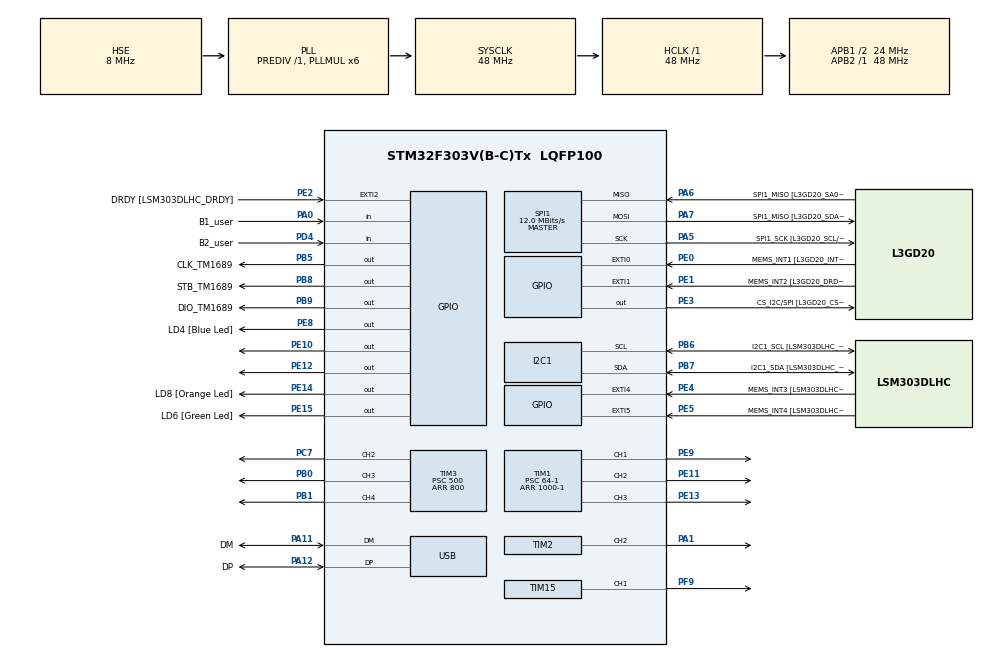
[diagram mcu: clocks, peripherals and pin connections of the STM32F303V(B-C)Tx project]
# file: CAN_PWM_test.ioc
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I2C1.Timing-I2C=0x2000090E
Mcu.Family=STM32F3
Mcu.Name=STM32F303V(B-C)Tx
Mcu.Package=LQFP100
NVIC.PriorityGroup=NVIC_PRIORITYGROUP_0
NVIC.TIM1_CC_IRQn=true\:0\:0\:false\:false\:true\:true\:true\:true
NVIC.TIM1_UP_TIM16_IRQn=true\:0\:0\:false\:false\:true\:true\:true\:true
NVIC.TIM2_IRQn=true\:0\:0\:false\:false\:true\:true\:true\:true
NVIC.TIM7_IRQn=true\:0\:0\:false\:false\:true\:true\:true\:true
PA0.GPIO_Label=B1_user
PA0.GPIO_PuPd=GPIO_PULLDOWN
PA0.Signal=GPIO_Input
PA1.Signal=S_TIM2_CH2
PA11.GPIO_Label=DM
PA11.Mode=Device
PA11.Signal=USB_DM
PA12.GPIO_Label=DP
PA12.Mode=Device
PA12.Signal=USB_DP
PA13.GPIO_Label=SWDIO
PA13.Mode=Serial_Wire
PA13.Signal=SYS_JTMS-SWDIO
PA14.GPIO_Label=SWCLK
PA14.Mode=Serial_Wire
PA14.Signal=SYS_JTCK-SWCLK
PA5.GPIO_Label=SPI1_SCK [L3GD20_SCL/SPC]
PA5.Mode=Full_Duplex_Master
PA5.Signal=SPI1_SCK
PA6.GPIO_Label=SPI1_MISO [L3GD20_SA0/SDO]
PA6.Mode=Full_Duplex_Master
PA6.Signal=SPI1_MISO
PA7.GPIO_Label=SPI1_MISO [L3GD20_SDA/SDI/SDO]
PA7.Mode=Full_Duplex_Master
PA7.Signal=SPI1_MOSI
PB0.Signal=S_TIM3_CH3
PB1.Signal=S_TIM3_CH4
PB3.GPIO_Label=SWO
PB3.Signal=SYS_JTDO-TRACESWO
PB5.GPIO_Label=CLK_TM1689
PB5.Signal=GPIO_Output
PB6.GPIO_Label=I2C1_SCL [LSM303DLHC_SCL]
PB6.GPIO_Pu=GPIO_PULLUP
PB6.Mode=I2C
PB6.Signal=I2C1_SCL
PB7.GPIO_Label=I2C1_SDA [LSM303DLHC_SDA]
PB7.GPIO_Pu=GPIO_PULLUP
PB7.Mode=I2C
PB7.Signal=I2C1_SDA
PB8.GPIO_Label=STB_TM1689
PB8.GPIO_PuPd=GPIO_NOPULL
PB8.Signal=GPIO_Output
PB9.GPIO_Label=DIO_TM1689
PB9.Signal=GPIO_Output
PC14-OSC32_IN.GPIO_Label=OSC32_IN
PC14-OSC32_IN.Signal=RCC_OSC32_IN
PC15-OSC32_OUT.GPIO_Label=OSC32_OUT
PC15-OSC32_OUT.Signal=RCC_OSC32_OUT
PC7.Signal=S_TIM3_CH2
PD4.GPIO_Label=B2_user
PD4.GPIO_PuPd=GPIO_PULLDOWN
PD4.Signal=GPIO_Input
PE0.GPIO_Label=MEMS_INT1 [L3GD20_INT1]
PE0.GPIO_ModeDefaultEXTI=GPIO_MODE_EVT_RISING
PE0.Signal=GPXTI0
PE1.GPIO_Label=MEMS_INT2 [L3GD20_DRDY/INT2]
PE1.GPIO_ModeDefaultEXTI=GPIO_MODE_EVT_RISING
PE1.Signal=GPXTI1
PE10.Signal=GPIO_Output
PE11.Signal=S_TIM1_CH2
PE12.Signal=GPIO_Output
PE13.Signal=S_TIM1_CH3
PE14.GPIO_Label=LD8 [Orange Led]
PE14.Signal=GPIO_Output
PE15.GPIO_Label=LD6 [Green Led]
PE15.Signal=GPIO_Output
PE2.GPIO_Label=DRDY [LSM303DLHC_DRDY]
PE2.GPIO_ModeDefaultEXTI=GPIO_MODE_EVT_RISING
PE2.Signal=GPXTI2
PE3.GPIO_Label=CS_I2C/SPI [L3GD20_CS_I2C/SPI]
PE3.Signal=GPIO_Output
PE4.GPIO_Label=MEMS_INT3 [LSM303DLHC_INT1]
PE4.GPIO_ModeDefaultEXTI=GPIO_MODE_EVT_RISING
PE4.Signal=GPXTI4
PE5.GPIO_Label=MEMS_INT4 [LSM303DLHC_INT2]
PE5.GPIO_ModeDefaultEXTI=GPIO_MODE_EVT_RISING
PE5.Signal=GPXTI5
PE8.GPIO_Label=LD4 [Blue Led]
PE8.Signal=GPIO_Output
PE9.Signal=S_TIM1_CH1
PF0-OSC_IN.GPIO_Label=OSC_IN
PF0-OSC_IN.Mode=HSE-External-Clock-Source
PF0-OSC_IN.Signal=RCC_OSC_IN
PF1-OSC_OUT.GPIO_Label=OSC_OUT
PF1-OSC_OUT.Signal=RCC_OSC_OUT
PF9.Signal=S_TIM15_CH1
ProjectManager.HeapSize=0x200
ProjectManager.StackSize=0x400
ProjectManager.TargetToolchain=Makefile
RCC.AHBFreq_Value=48000000
RCC.APB1CLKDivider=RCC_HCLK_DIV2
RCC.APB1Freq_Value=24000000
RCC.APB1TimFreq_Value=48000000
RCC.APB2Freq_Value=48000000
RCC.APB2TimFreq_Value=48000000
RCC.CortexFreq_Value=48000000
RCC.HCLKFreq_Value=48000000
RCC.HSE_VALUE=8000000
RCC.HSI_VALUE=8000000
RCC.LSE_VALUE=32768
RCC.PLLMUL=RCC_PLL_MUL6
RCC.SYSCLKFreq_VALUE=48000000
RCC.SYSCLKSourceVirtual=RCC_SYSCLKSOURCE_PLLCLK
RCC.USBFreq_Value=48000000
SH.S_TIM15_CH1.0=TIM15_CH1,PWM Generation1 CH1
SH.S_TIM1_CH1.0=TIM1_CH1,PWM Generation1 CH1
SH.S_TIM1_CH2.0=TIM1_CH2,PWM Generation2 CH2
SH.S_TIM1_CH3.0=TIM1_CH3,PWM Generation3 CH3
SH.S_TIM2_CH2.0=TIM2_CH2,PWM Generation2 CH2
SH.S_TIM3_CH2.0=TIM3_CH2,PWM Generation2 CH2
SH.S_TIM3_CH3.0=TIM3_CH3,PWM Generation3 CH3
SH.S_TIM3_CH4.0=TIM3_CH4,PWM Generation4 CH4
SPI1.BaudRatePrescaler=SPI_BAUDRATEPRESCALER_4
SPI1.BaudRatePrescaler-Full_Duplex_Master=SPI_BAUDRATEPRESCALER_2
SPI1.CalculateBaudRate=12.0 MBits/s
SPI1.CalculateBaudRate-Full_Duplex_Master=24.0 MBits/s
SPI1.Direction=SPI_DIRECTION_2LINES
SPI1.Mode=SPI_MODE_MASTER
SPI1.Mode-Full_Duplex_Master=SPI_MODE_MASTER
SPI1.VirtualType=VM_MASTER
TIM1.Channel-PWM\ Generation1\ CH1=TIM_CHANNEL_1
TIM1.Channel-PWM\ Generation2\ CH2=TIM_CHANNEL_2
TIM1.Channel-PWM\ Generation3\ CH3=TIM_CHANNEL_3
TIM1.OCPolarity_3=TIM_OCPOLARITY_LOW
TIM1.Period=1000-1
TIM1.Prescaler=64-1
TIM1.Pulse-PWM\ Generation1\ CH1=50
TIM1.Pulse-PWM\ Generation2\ CH2=50
TIM15.Channel-PWM\ Generation1\ CH1=TIM_CHANNEL_1
TIM17.Period=500-1
TIM17.Prescaler=384-1
TIM2.Channel-PWM\ Generation2\ CH2=TIM_CHANNEL_2
TIM2.Period=1000
TIM2.Prescaler=4
TIM3.Channel-PWM\ Generation2\ CH2=TIM_CHANNEL_2
TIM3.Channel-PWM\ Generation3\ CH3=TIM_CHANNEL_3
TIM3.Channel-PWM\ Generation4\ CH4=TIM_CHANNEL_4
TIM3.Period=800
TIM3.Prescaler=500
TIM7.Period=100
TIM7.Prescaler=4
VP_TIM16_VS_ClockSourceINT.Mode=Enable_Timer
VP_TIM17_VS_ClockSourceINT.Mode=Enable_Timer
VP_TIM1_VS_ClockSourceINT.Mode=Internal
VP_TIM2_VS_ClockSourceINT.Mode=Internal
VP_TIM3_VS_ClockSourceINT.Mode=Internal
VP_TIM7_VS_ClockSourceINT.Mode=Enable_Timer
VP_TIM8_VS_ClockSourceINT.Mode=Internal
board=STM32F3DISCOVERY

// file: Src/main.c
/* USER CODE BEGIN Header */
/**
  ******************************************************************************
  * @file           : main.c
  * @brief          : Main program body
  ******************************************************************************
  * @attention
  *
  * Copyright (c) 2023 STMicroelectronics.
  * All rights reserved.
  *
  * This software is licensed under terms that can be found in the LICENSE file
  * in the root directory of this software component.
  * If no LICENSE file comes with this software, it is provided AS-IS.
  *
  ******************************************************************************
  */
/* USER CODE END Header */
#include "main.h"

/* USER CODE BEGIN Includes */
// #include "TM1638.h"

/* USER CODE END Includes */

/* USER CODE BEGIN PTD */
const uint8_t PWM_MIN = 4;
const uint8_t PWM_MAX = 100;
const uint8_t PWM_MIN_CHANGE = 5;
/* USER CODE END PTD */

/* USER CODE BEGIN PD */
uint8_t timePulse = 50;
uint8_t timePulseMax = 100;
uint8_t timePulseMin = 1;
uint8_t timePulseDivider = PWM_MIN;
uint8_t timePulse2 = 50;

eDir tPulse = UP;
eDir tDivide = UP;

// enum{
//   UP=0,
//   DOWN
// }eDir;

// enum{
//     uP=0,
//     dOWN
// }eDivider;
/* USER CODE END PD */

I2C_HandleTypeDef hi2c1;

SPI_HandleTypeDef hspi1;

TIM_HandleTypeDef htim1;
TIM_HandleTypeDef htim2;
TIM_HandleTypeDef htim3;
TIM_HandleTypeDef htim7;
TIM_HandleTypeDef htim8;
TIM_HandleTypeDef htim15;
TIM_HandleTypeDef htim16;
TIM_HandleTypeDef htim17;

PCD_HandleTypeDef hpcd_USB_FS;

void SystemClock_Config(void);
static void MX_GPIO_Init(void);
static void MX_I2C1_Init(void);
static void MX_SPI1_Init(void);
static void MX_TIM2_Init(void);
static void MX_TIM3_Init(void);
static void MX_TIM8_Init(void);
static void MX_TIM15_Init(void);
static void MX_TIM16_Init(void);
static void MX_TIM17_Init(void);
static void MX_USB_PCD_Init(void);
static void MX_TIM1_Init(void);
static void MX_TIM7_Init(void);

int main(void)
{

  /* MCU Configuration--------------------------------------------------------*/

  /* Reset of all peripherals, Initializes the Flash interface and the Systick. */
  HAL_Init();

  /* Configure the system clock */
  SystemClock_Config();

  /* Initialize all configured peripherals */
  MX_GPIO_Init();
  MX_I2C1_Init();
  MX_SPI1_Init();
  MX_TIM2_Init();
  MX_TIM3_Init();
  MX_TIM8_Init();
  MX_TIM15_Init();
  MX_TIM16_Init();
  MX_TIM17_Init();
  MX_USB_PCD_Init();
  MX_TIM1_Init();
  MX_TIM7_Init();
  /* USER CODE BEGIN 2 */

  timePulse = 50;
  timePulseMax = htim1.Init.Period;
  timePulseMin = 1;
  timePulseDivider = timePulseMax/2;
  timePulse2 = 50;

  HAL_TIM_Base_Start_IT(&htim1);
  // HAL_TIM_Base_Start_IT(&htim7);
  // HAL_TIM_PWM_Start(&htim2, TIM_CHANNEL_2);

  HAL_TIM_PWM_Start(&htim1, TIM_CHANNEL_1);
  HAL_TIM_PWM_Start(&htim1, TIM_CHANNEL_2);
  HAL_TIM_PWM_Start(&htim1, TIM_CHANNEL_3);

// BEGIN TM1638

  // TM1638 tm1638(DIO_TM1689_Pin, CLK_TM1689_Pin, STB_TM1689_Pin);

  HAL_TIM_Base_Start_IT(&htim17);
  // TIM17->CCR1 = (htim17.Init.Period * timePulse2) / 100u;
  HAL_TIM_PWM_Start(&htim17, TIM_CHANNEL_1);
// END TM1638

  /* USER CODE END 2 */

  /* Infinite loop */
  /* USER CODE BEGIN WHILE */
  while (1)
  {

    if( HAL_GPIO_ReadPin(B1_user_GPIO_Port, B1_user_Pin) )
    {

        HAL_GPIO_WritePin( GPIOE, GPIO_PIN_10, GPIO_PIN_SET );

        if( tPulse == UP )
        {
            if( timePulse >= PWM_MAX )
                tPulse = DOWN;
            else
                timePulse += PWM_MIN_CHANGE;
        } else {
            if ( timePulse <= PWM_MIN )
                tPulse = UP;
            else
                timePulse -= PWM_MIN_CHANGE;
        }
    } else if( ! HAL_GPIO_ReadPin(B1_user_GPIO_Port, B1_user_Pin) ){
        HAL_GPIO_WritePin( GPIOE, GPIO_PIN_10, GPIO_PIN_RESET );
    }

    if( HAL_GPIO_ReadPin(B2_user_GPIO_Port, B2_user_Pin) )
    {
        HAL_GPIO_WritePin( GPIOE, LD8_Pin, GPIO_PIN_SET );

        if( tDivide == UP )
        {
            if( timePulseDivider >= timePulseMax )
                tDivide = DOWN;
            else
                timePulseDivider += PWM_MIN_CHANGE;
        } else {
            if ( timePulse <= timePulseMin )
                tDivide = UP;
            else
                timePulseDivider -= PWM_MIN_CHANGE;
        }

    } else if( ! HAL_GPIO_ReadPin(B2_user_GPIO_Port, B2_user_Pin) ){

        HAL_GPIO_WritePin( GPIOE, GPIO_PIN_14, GPIO_PIN_RESET );
    }

    /* USER CODE END WHILE */

    /* USER CODE BEGIN 3 */
    // HAL_GPIO_TogglePin (GPIOE, GPIO_PIN_8);
    HAL_Delay (300);
    HAL_GPIO_TogglePin (GPIOE, GPIO_PIN_15);
 }
  /* USER CODE END 3 */
}

void SystemClock_Config(void)
{
  RCC_OscInitTypeDef RCC_OscInitStruct = {0};
  RCC_ClkInitTypeDef RCC_ClkInitStruct = {0};
  RCC_PeriphCLKInitTypeDef PeriphClkInit = {0};

  /** Initializes the RCC Oscillators according to the specified parameters
  * in the RCC_OscInitTypeDef structure.
  */
  RCC_OscInitStruct.OscillatorType = RCC_OSCILLATORTYPE_HSI|RCC_OSCILLATORTYPE_HSE;
  RCC_OscInitStruct.HSEState = RCC_HSE_BYPASS;
  RCC_OscInitStruct.HSEPredivValue = RCC_HSE_PREDIV_DIV1;
  RCC_OscInitStruct.HSIState = RCC_HSI_ON;
  RCC_OscInitStruct.HSICalibrationValue = RCC_HSICALIBRATION_DEFAULT;
  RCC_OscInitStruct.PLL.PLLState = RCC_PLL_ON;
  RCC_OscInitStruct.PLL.PLLSource = RCC_PLLSOURCE_HSE;
  RCC_OscInitStruct.PLL.PLLMUL = RCC_PLL_MUL6;
  if (HAL_RCC_OscConfig(&RCC_OscInitStruct) != HAL_OK)
  {
    Error_Handler();
  }

  /** Initializes the CPU, AHB and APB buses clocks
  */
  RCC_ClkInitStruct.ClockType = RCC_CLOCKTYPE_HCLK|RCC_CLOCKTYPE_SYSCLK
                              |RCC_CLOCKTYPE_PCLK1|RCC_CLOCKTYPE_PCLK2;
  RCC_ClkInitStruct.SYSCLKSource = RCC_SYSCLKSOURCE_PLLCLK;
  RCC_ClkInitStruct.AHBCLKDivider = RCC_SYSCLK_DIV1;
  RCC_ClkInitStruct.APB1CLKDivider = RCC_HCLK_DIV2;
  RCC_ClkInitStruct.APB2CLKDivider = RCC_HCLK_DIV1;

  if (HAL_RCC_ClockConfig(&RCC_ClkInitStruct, FLASH_LATENCY_1) != HAL_OK)
  {
    Error_Handler();
  }
  PeriphClkInit.PeriphClockSelection = RCC_PERIPHCLK_USB|RCC_PERIPHCLK_I2C1
                              |RCC_PERIPHCLK_TIM1|RCC_PERIPHCLK_TIM8;
  PeriphClkInit.I2c1ClockSelection = RCC_I2C1CLKSOURCE_HSI;
  PeriphClkInit.USBClockSelection = RCC_USBCLKSOURCE_PLL;
  PeriphClkInit.Tim1ClockSelection = RCC_TIM1CLK_HCLK;
  PeriphClkInit.Tim8ClockSelection = RCC_TIM8CLK_HCLK;
  if (HAL_RCCEx_PeriphCLKConfig(&PeriphClkInit) != HAL_OK)
  {
    Error_Handler();
  }
}

static void MX_I2C1_Init(void)
{

  hi2c1.Instance = I2C1;
  hi2c1.Init.Timing = 0x2000090E;
  hi2c1.Init.OwnAddress1 = 0;
  hi2c1.Init.AddressingMode = I2C_ADDRESSINGMODE_7BIT;
  hi2c1.Init.DualAddressMode = I2C_DUALADDRESS_DISABLE;
  hi2c1.Init.OwnAddress2 = 0;
  hi2c1.Init.OwnAddress2Masks = I2C_OA2_NOMASK;
  hi2c1.Init.GeneralCallMode = I2C_GENERALCALL_DISABLE;
  hi2c1.Init.NoStretchMode = I2C_NOSTRETCH_DISABLE;
  if (HAL_I2C_Init(&hi2c1) != HAL_OK)
  {
    Error_Handler();
  }

  /** Configure Analogue filter
  */
  if (HAL_I2CEx_ConfigAnalogFilter(&hi2c1, I2C_ANALOGFILTER_ENABLE) != HAL_OK)
  {
    Error_Handler();
  }

  /** Configure Digital filter
  */
  if (HAL_I2CEx_ConfigDigitalFilter(&hi2c1, 0) != HAL_OK)
  {
    Error_Handler();
  }

}

static void MX_SPI1_Init(void)
{

  /* SPI1 parameter configuration*/
  hspi1.Instance = SPI1;
  hspi1.Init.Mode = SPI_MODE_MASTER;
  hspi1.Init.Direction = SPI_DIRECTION_2LINES;
  hspi1.Init.DataSize = SPI_DATASIZE_4BIT;
  hspi1.Init.CLKPolarity = SPI_POLARITY_LOW;
  hspi1.Init.CLKPhase = SPI_PHASE_1EDGE;
  hspi1.Init.NSS = SPI_NSS_SOFT;
  hspi1.Init.BaudRatePrescaler = SPI_BAUDRATEPRESCALER_4;
  hspi1.Init.FirstBit = SPI_FIRSTBIT_MSB;
  hspi1.Init.TIMode = SPI_TIMODE_DISABLE;
  hspi1.Init.CRCCalculation = SPI_CRCCALCULATION_DISABLE;
  hspi1.Init.CRCPolynomial = 7;
  hspi1.Init.CRCLength = SPI_CRC_LENGTH_DATASIZE;
  hspi1.Init.NSSPMode = SPI_NSS_PULSE_ENABLE;
  if (HAL_SPI_Init(&hspi1) != HAL_OK)
  {
    Error_Handler();
  }

}

static void MX_TIM1_Init(void)
{

  TIM_ClockConfigTypeDef sClockSourceConfig = {0};
  TIM_MasterConfigTypeDef sMasterConfig = {0};
  TIM_OC_InitTypeDef sConfigOC = {0};
  TIM_BreakDeadTimeConfigTypeDef sBreakDeadTimeConfig = {0};

  htim1.Instance = TIM1;
  htim1.Init.Prescaler = 64-1;
  htim1.Init.CounterMode = TIM_COUNTERMODE_UP;
  htim1.Init.Period = 1000-1;
  htim1.Init.ClockDivision = TIM_CLOCKDIVISION_DIV1;
  htim1.Init.RepetitionCounter = 0;
  htim1.Init.AutoReloadPreload = TIM_AUTORELOAD_PRELOAD_DISABLE;
  if (HAL_TIM_Base_Init(&htim1) != HAL_OK)
  {
    Error_Handler();
  }
  sClockSourceConfig.ClockSource = TIM_CLOCKSOURCE_INTERNAL;
  if (HAL_TIM_ConfigClockSource(&htim1, &sClockSourceConfig) != HAL_OK)
  {
    Error_Handler();
  }
  if (HAL_TIM_PWM_Init(&htim1) != HAL_OK)
  {
    Error_Handler();
  }
  sMasterConfig.MasterOutputTrigger = TIM_TRGO_RESET;
  sMasterConfig.MasterOutputTrigger2 = TIM_TRGO2_RESET;
  sMasterConfig.MasterSlaveMode = TIM_MASTERSLAVEMODE_DISABLE;
  if (HAL_TIMEx_MasterConfigSynchronization(&htim1, &sMasterConfig) != HAL_OK)
  {
    Error_Handler();
  }
  sConfigOC.OCMode = TIM_OCMODE_PWM1;
  sConfigOC.Pulse = 50;
  sConfigOC.OCPolarity = TIM_OCPOLARITY_HIGH;
  sConfigOC.OCNPolarity = TIM_OCNPOLARITY_HIGH;
  sConfigOC.OCFastMode = TIM_OCFAST_DISABLE;
  sConfigOC.OCIdleState = TIM_OCIDLESTATE_RESET;
  sConfigOC.OCNIdleState = TIM_OCNIDLESTATE_RESET;
  if (HAL_TIM_PWM_ConfigChannel(&htim1, &sConfigOC, TIM_CHANNEL_1) != HAL_OK)
  {
    Error_Handler();
  }
  if (HAL_TIM_PWM_ConfigChannel(&htim1, &sConfigOC, TIM_CHANNEL_2) != HAL_OK)
  {
    Error_Handler();
  }
  sConfigOC.Pulse = 0;
  sConfigOC.OCPolarity = TIM_OCPOLARITY_LOW;
  if (HAL_TIM_PWM_ConfigChannel(&htim1, &sConfigOC, TIM_CHANNEL_3) != HAL_OK)
  {
    Error_Handler();
  }
  sBreakDeadTimeConfig.OffStateRunMode = TIM_OSSR_DISABLE;
  sBreakDeadTimeConfig.OffStateIDLEMode = TIM_OSSI_DISABLE;
  sBreakDeadTimeConfig.LockLevel = TIM_LOCKLEVEL_OFF;
  sBreakDeadTimeConfig.DeadTime = 0;
  sBreakDeadTimeConfig.BreakState = TIM_BREAK_DISABLE;
  sBreakDeadTimeConfig.BreakPolarity = TIM_BREAKPOLARITY_HIGH;
  sBreakDeadTimeConfig.BreakFilter = 0;
  sBreakDeadTimeConfig.Break2State = TIM_BREAK2_DISABLE;
  sBreakDeadTimeConfig.Break2Polarity = TIM_BREAK2POLARITY_HIGH;
  sBreakDeadTimeConfig.Break2Filter = 0;
  sBreakDeadTimeConfig.AutomaticOutput = TIM_AUTOMATICOUTPUT_DISABLE;
  if (HAL_TIMEx_ConfigBreakDeadTime(&htim1, &sBreakDeadTimeConfig) != HAL_OK)
  {
    Error_Handler();
  }
  HAL_TIM_MspPostInit(&htim1);

}

static void MX_TIM2_Init(void)
{

  TIM_ClockConfigTypeDef sClockSourceConfig = {0};
  TIM_MasterConfigTypeDef sMasterConfig = {0};
  TIM_OC_InitTypeDef sConfigOC = {0};

  htim2.Instance = TIM2;
  htim2.Init.Prescaler = 4;
  htim2.Init.CounterMode = TIM_COUNTERMODE_UP;
  htim2.Init.Period = 1000;
  htim2.Init.ClockDivision = TIM_CLOCKDIVISION_DIV1;
  htim2.Init.AutoReloadPreload = TIM_AUTORELOAD_PRELOAD_DISABLE;
  if (HAL_TIM_Base_Init(&htim2) != HAL_OK)
  {
    Error_Handler();
  }
  sClockSourceConfig.ClockSource = TIM_CLOCKSOURCE_INTERNAL;
  if (HAL_TIM_ConfigClockSource(&htim2, &sClockSourceConfig) != HAL_OK)
  {
    Error_Handler();
  }
  if (HAL_TIM_PWM_Init(&htim2) != HAL_OK)
  {
    Error_Handler();
  }
  sMasterConfig.MasterOutputTrigger = TIM_TRGO_RESET;
  sMasterConfig.MasterSlaveMode = TIM_MASTERSLAVEMODE_DISABLE;
  if (HAL_TIMEx_MasterConfigSynchronization(&htim2, &sMasterConfig) != HAL_OK)
  {
    Error_Handler();
  }
  sConfigOC.OCMode = TIM_OCMODE_PWM1;
  sConfigOC.Pulse = 0;
  sConfigOC.OCPolarity = TIM_OCPOLARITY_HIGH;
  sConfigOC.OCFastMode = TIM_OCFAST_DISABLE;
  if (HAL_TIM_PWM_ConfigChannel(&htim2, &sConfigOC, TIM_CHANNEL_2) != HAL_OK)
  {
    Error_Handler();
  }
  HAL_TIM_MspPostInit(&htim2);

}

static void MX_TIM3_Init(void)
{

  TIM_ClockConfigTypeDef sClockSourceConfig = {0};
  TIM_MasterConfigTypeDef sMasterConfig = {0};
  TIM_OC_InitTypeDef sConfigOC = {0};

  htim3.Instance = TIM3;
  htim3.Init.Prescaler = 500;
  htim3.Init.CounterMode = TIM_COUNTERMODE_UP;
  htim3.Init.Period = 800;
  htim3.Init.ClockDivision = TIM_CLOCKDIVISION_DIV1;
  htim3.Init.AutoReloadPreload = TIM_AUTORELOAD_PRELOAD_DISABLE;
  if (HAL_TIM_Base_Init(&htim3) != HAL_OK)
  {
    Error_Handler();
  }
  sClockSourceConfig.ClockSource = TIM_CLOCKSOURCE_INTERNAL;
  if (HAL_TIM_ConfigClockSource(&htim3, &sClockSourceConfig) != HAL_OK)
  {
    Error_Handler();
  }
  if (HAL_TIM_PWM_Init(&htim3) != HAL_OK)
  {
    Error_Handler();
  }
  sMasterConfig.MasterOutputTrigger = TIM_TRGO_RESET;
  sMasterConfig.MasterSlaveMode = TIM_MASTERSLAVEMODE_DISABLE;
  if (HAL_TIMEx_MasterConfigSynchronization(&htim3, &sMasterConfig) != HAL_OK)
  {
    Error_Handler();
  }
  sConfigOC.OCMode = TIM_OCMODE_PWM1;
  sConfigOC.Pulse = 0;
  sConfigOC.OCPolarity = TIM_OCPOLARITY_HIGH;
  sConfigOC.OCFastMode = TIM_OCFAST_DISABLE;
  if (HAL_TIM_PWM_ConfigChannel(&htim3, &sConfigOC, TIM_CHANNEL_2) != HAL_OK)
  {
    Error_Handler();
  }
  if (HAL_TIM_PWM_ConfigChannel(&htim3, &sConfigOC, TIM_CHANNEL_3) != HAL_OK)
  {
    Error_Handler();
  }
  if (HAL_TIM_PWM_ConfigChannel(&htim3, &sConfigOC, TIM_CHANNEL_4) != HAL_OK)
  {
    Error_Handler();
  }
  HAL_TIM_MspPostInit(&htim3);

}

static void MX_TIM7_Init(void)
{

  TIM_MasterConfigTypeDef sMasterConfig = {0};

  htim7.Instance = TIM7;
  htim7.Init.Prescaler = 4;
  htim7.Init.CounterMode = TIM_COUNTERMODE_UP;
  htim7.Init.Period = 100;
  htim7.Init.AutoReloadPreload = TIM_AUTORELOAD_PRELOAD_DISABLE;
  if (HAL_TIM_Base_Init(&htim7) != HAL_OK)
  {
    Error_Handler();
  }
  sMasterConfig.MasterOutputTrigger = TIM_TRGO_RESET;
  sMasterConfig.MasterSlaveMode = TIM_MASTERSLAVEMODE_DISABLE;
  if (HAL_TIMEx_MasterConfigSynchronization(&htim7, &sMasterConfig) != HAL_OK)
  {
    Error_Handler();
  }

}

static void MX_TIM8_Init(void)
{

  TIM_ClockConfigTypeDef sClockSourceConfig = {0};
  TIM_MasterConfigTypeDef sMasterConfig = {0};

  htim8.Instance = TIM8;
  htim8.Init.Prescaler = 0;
  htim8.Init.CounterMode = TIM_COUNTERMODE_UP;
  htim8.Init.Period = 65535;
  htim8.Init.ClockDivision = TIM_CLOCKDIVISION_DIV1;
  htim8.Init.RepetitionCounter = 0;
  htim8.Init.AutoReloadPreload = TIM_AUTORELOAD_PRELOAD_DISABLE;
  if (HAL_TIM_Base_Init(&htim8) != HAL_OK)
  {
    Error_Handler();
  }
  sClockSourceConfig.ClockSource = TIM_CLOCKSOURCE_INTERNAL;
  if (HAL_TIM_ConfigClockSource(&htim8, &sClockSourceConfig) != HAL_OK)
  {
    Error_Handler();
  }
  sMasterConfig.MasterOutputTrigger = TIM_TRGO_RESET;
  sMasterConfig.MasterOutputTrigger2 = TIM_TRGO2_RESET;
  sMasterConfig.MasterSlaveMode = TIM_MASTERSLAVEMODE_DISABLE;
  if (HAL_TIMEx_MasterConfigSynchronization(&htim8, &sMasterConfig) != HAL_OK)
  {
    Error_Handler();
  }

}

static void MX_TIM15_Init(void)
{

  TIM_MasterConfigTypeDef sMasterConfig = {0};
  TIM_OC_InitTypeDef sConfigOC = {0};
  TIM_BreakDeadTimeConfigTypeDef sBreakDeadTimeConfig = {0};

  htim15.Instance = TIM15;
  htim15.Init.Prescaler = 0;
  htim15.Init.CounterMode = TIM_COUNTERMODE_UP;
  htim15.Init.Period = 65535;
  htim15.Init.ClockDivision = TIM_CLOCKDIVISION_DIV1;
  htim15.Init.RepetitionCounter = 0;
  htim15.Init.AutoReloadPreload = TIM_AUTORELOAD_PRELOAD_DISABLE;
  if (HAL_TIM_PWM_Init(&htim15) != HAL_OK)
  {
    Error_Handler();
  }
  sMasterConfig.MasterOutputTrigger = TIM_TRGO_RESET;
  sMasterConfig.MasterSlaveMode = TIM_MASTERSLAVEMODE_DISABLE;
  if (HAL_TIMEx_MasterConfigSynchronization(&htim15, &sMasterConfig) != HAL_OK)
  {
    Error_Handler();
  }
  sConfigOC.OCMode = TIM_OCMODE_PWM1;
  sConfigOC.Pulse = 0;
  sConfigOC.OCPolarity = TIM_OCPOLARITY_HIGH;
  sConfigOC.OCNPolarity = TIM_OCNPOLARITY_HIGH;
  sConfigOC.OCFastMode = TIM_OCFAST_DISABLE;
  sConfigOC.OCIdleState = TIM_OCIDLESTATE_RESET;
  sConfigOC.OCNIdleState = TIM_OCNIDLESTATE_RESET;
  if (HAL_TIM_PWM_ConfigChannel(&htim15, &sConfigOC, TIM_CHANNEL_1) != HAL_OK)
  {
    Error_Handler();
  }
  sBreakDeadTimeConfig.OffStateRunMode = TIM_OSSR_DISABLE;
  sBreakDeadTimeConfig.OffStateIDLEMode = TIM_OSSI_DISABLE;
  sBreakDeadTimeConfig.LockLevel = TIM_LOCKLEVEL_OFF;
  sBreakDeadTimeConfig.DeadTime = 0;
  sBreakDeadTimeConfig.BreakState = TIM_BREAK_DISABLE;
  sBreakDeadTimeConfig.BreakPolarity = TIM_BREAKPOLARITY_HIGH;
  sBreakDeadTimeConfig.BreakFilter = 0;
  sBreakDeadTimeConfig.AutomaticOutput = TIM_AUTOMATICOUTPUT_DISABLE;
  if (HAL_TIMEx_ConfigBreakDeadTime(&htim15, &sBreakDeadTimeConfig) != HAL_OK)
  {
    Error_Handler();
  }
  HAL_TIM_MspPostInit(&htim15);

}

static void MX_TIM16_Init(void)
{

  htim16.Instance = TIM16;
  htim16.Init.Prescaler = 0;
  htim16.Init.CounterMode = TIM_COUNTERMODE_UP;
  htim16.Init.Period = 65535;
  htim16.Init.ClockDivision = TIM_CLOCKDIVISION_DIV1;
  htim16.Init.RepetitionCounter = 0;
  htim16.Init.AutoReloadPreload = TIM_AUTORELOAD_PRELOAD_DISABLE;
  if (HAL_TIM_Base_Init(&htim16) != HAL_OK)
  {
    Error_Handler();
  }

}

static void MX_TIM17_Init(void)
{

  htim17.Instance = TIM17;
  htim17.Init.Prescaler = 384-1;
  htim17.Init.CounterMode = TIM_COUNTERMODE_UP;
  htim17.Init.Period = 500-1;
  htim17.Init.ClockDivision = TIM_CLOCKDIVISION_DIV1;
  htim17.Init.RepetitionCounter = 0;
  htim17.Init.AutoReloadPreload = TIM_AUTORELOAD_PRELOAD_DISABLE;
  if (HAL_TIM_Base_Init(&htim17) != HAL_OK)
  {
    Error_Handler();
  }

}

static void MX_USB_PCD_Init(void)
{

  hpcd_USB_FS.Instance = USB;
  hpcd_USB_FS.Init.dev_endpoints = 8;
  hpcd_USB_FS.Init.speed = PCD_SPEED_FULL;
  hpcd_USB_FS.Init.phy_itface = PCD_PHY_EMBEDDED;
  hpcd_USB_FS.Init.low_power_enable = DISABLE;
  hpcd_USB_FS.Init.battery_charging_enable = DISABLE;
  if (HAL_PCD_Init(&hpcd_USB_FS) != HAL_OK)
  {
    Error_Handler();
  }

}

static void MX_GPIO_Init(void)
{
  GPIO_InitTypeDef GPIO_InitStruct = {0};

  /* GPIO Ports Clock Enable */
  __HAL_RCC_GPIOE_CLK_ENABLE();
  __HAL_RCC_GPIOC_CLK_ENABLE();
  __HAL_RCC_GPIOF_CLK_ENABLE();
  __HAL_RCC_GPIOA_CLK_ENABLE();
  __HAL_RCC_GPIOB_CLK_ENABLE();
  __HAL_RCC_GPIOD_CLK_ENABLE();

  /*Configure GPIO pin Output Level */
  HAL_GPIO_WritePin(GPIOE, CS_I2C_SPI_Pin|LD4_Pin|GPIO_PIN_10|GPIO_PIN_12
                          |LD8_Pin|LD6_Pin, GPIO_PIN_RESET);

  /*Configure GPIO pin Output Level */
  HAL_GPIO_WritePin(GPIOB, CLK_TM1689_Pin|STB_TM1689_Pin|DIO_TM1689_Pin, GPIO_PIN_RESET);

  /*Configure GPIO pins : DRDY_Pin MEMS_INT3_Pin MEMS_INT4_Pin MEMS_INT1_Pin
                           MEMS_INT2_Pin */
  GPIO_InitStruct.Pin = DRDY_Pin|MEMS_INT3_Pin|MEMS_INT4_Pin|MEMS_INT1_Pin
                          |MEMS_INT2_Pin;
  GPIO_InitStruct.Mode = GPIO_MODE_EVT_RISING;
  GPIO_InitStruct.Pull = GPIO_NOPULL;
  HAL_GPIO_Init(GPIOE, &GPIO_InitStruct);

  /*Configure GPIO pins : CS_I2C_SPI_Pin LD4_Pin PE10 PE12
                           LD8_Pin LD6_Pin */
  GPIO_InitStruct.Pin = CS_I2C_SPI_Pin|LD4_Pin|GPIO_PIN_10|GPIO_PIN_12
                          |LD8_Pin|LD6_Pin;
  GPIO_InitStruct.Mode = GPIO_MODE_OUTPUT_PP;
  GPIO_InitStruct.Pull = GPIO_NOPULL;
  GPIO_InitStruct.Speed = GPIO_SPEED_FREQ_LOW;
  HAL_GPIO_Init(GPIOE, &GPIO_InitStruct);

  /*Configure GPIO pin : B1_user_Pin */
  GPIO_InitStruct.Pin = B1_user_Pin;
  GPIO_InitStruct.Mode = GPIO_MODE_INPUT;
  GPIO_InitStruct.Pull = GPIO_PULLDOWN;
  HAL_GPIO_Init(B1_user_GPIO_Port, &GPIO_InitStruct);

  /*Configure GPIO pin : B2_user_Pin */
  GPIO_InitStruct.Pin = B2_user_Pin;
  GPIO_InitStruct.Mode = GPIO_MODE_INPUT;
  GPIO_InitStruct.Pull = GPIO_PULLDOWN;
  HAL_GPIO_Init(B2_user_GPIO_Port, &GPIO_InitStruct);

  /*Configure GPIO pins : CLK_TM1689_Pin STB_TM1689_Pin DIO_TM1689_Pin */
  GPIO_InitStruct.Pin = CLK_TM1689_Pin|STB_TM1689_Pin|DIO_TM1689_Pin;
  GPIO_InitStruct.Mode = GPIO_MODE_OUTPUT_PP;
  GPIO_InitStruct.Pull = GPIO_NOPULL;
  GPIO_InitStruct.Speed = GPIO_SPEED_FREQ_LOW;
  HAL_GPIO_Init(GPIOB, &GPIO_InitStruct);

}

void Error_Handler(void)
{
  __disable_irq();
  while (1)
  {
  }
}
